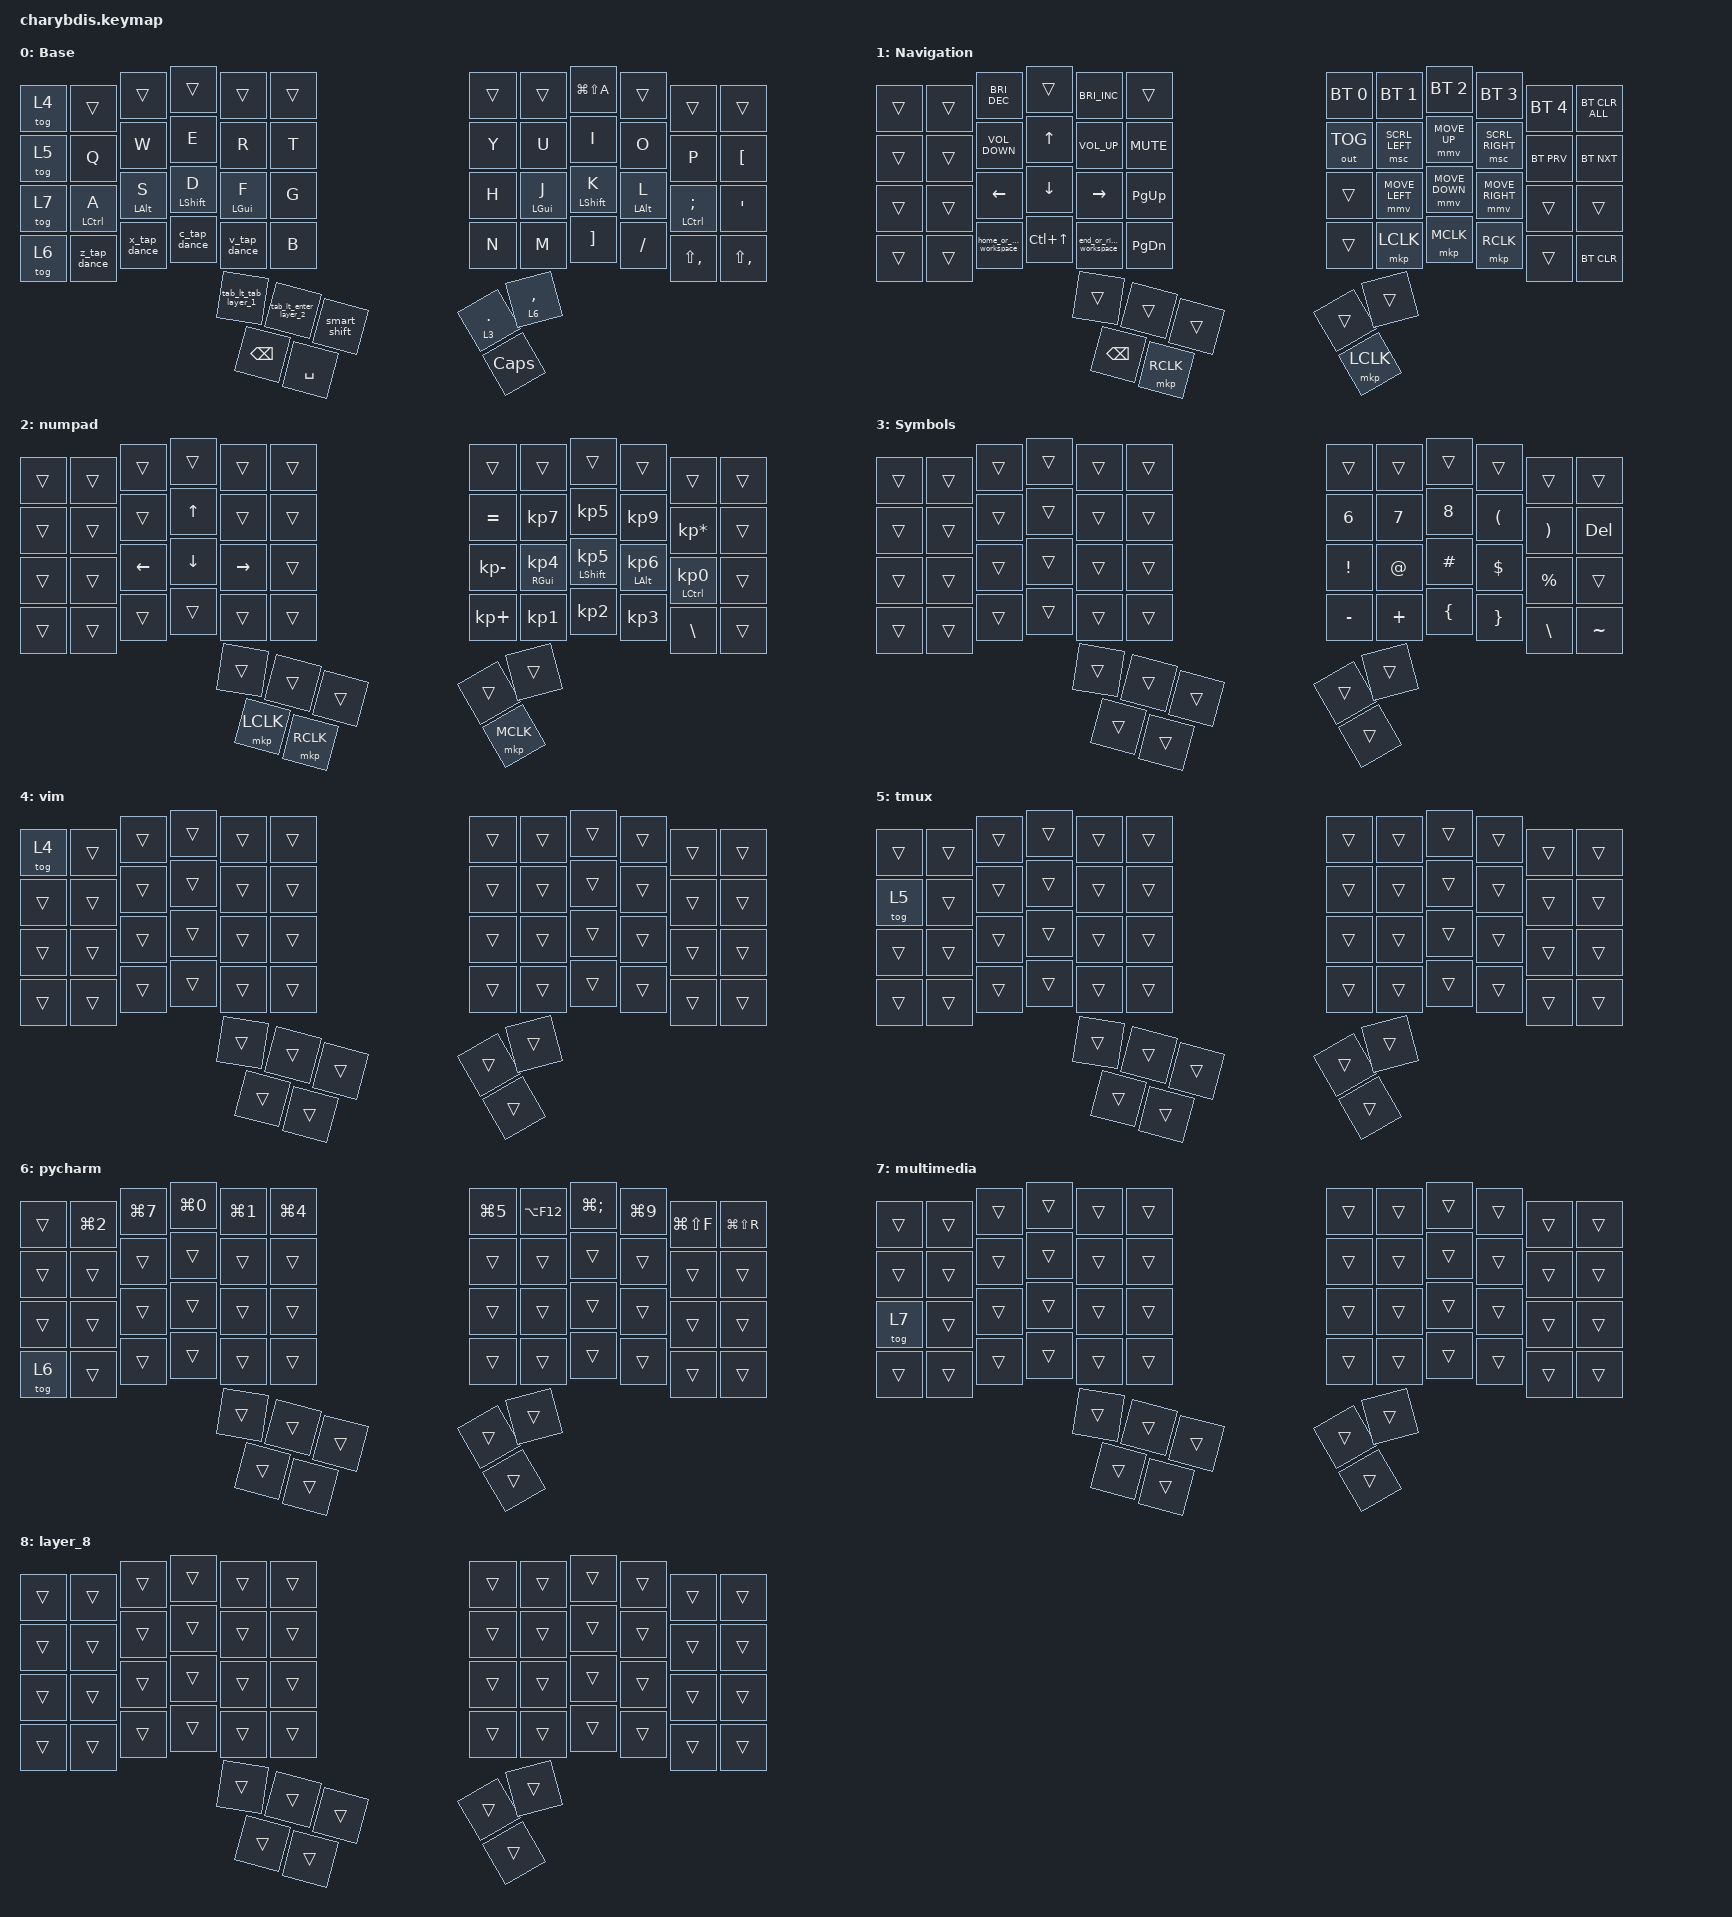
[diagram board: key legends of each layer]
#include <behaviors.dtsi>
#include <dt-bindings/zmk/bt.h>
#include <dt-bindings/zmk/keys.h>
#include <dt-bindings/zmk/outputs.h>
#include <dt-bindings/zmk/pointing.h>

#define BASE 0
#define MOVEMENT 1
#define NUMPAD 2
#define NUMBER 3
#define BUFFER 4
#define KEYS_L 0 1 2 3 4 10 11 12 13 14 20 21 22 23 24
#define KEYS_R 5 6 7 8 9 15 16 17 18 19 25 26 27 28 29
#define THUMBS 30 31 32 33 34 35

&sk {
    release-after-ms = <600>;
    quick-release;
};

&sl { ignore-modifiers; };

&mt { flavor = "tap-preferred"; };

&lt {
    flavor = "balanced";
    tapping-term-ms = <200>;
    quick-tap-ms = <175>;
};

&caps_word { /delete-property/ ignore-modifiers; };

/ {
    behaviors {
        hml: hml {
            compatible = "zmk,behavior-hold-tap";
            #binding-cells = <2>;
            flavor = "balanced";
            tapping-term-ms = <2000>;
            quick-tap-ms = <175>;
            require-prior-idle-ms = <250>;
            hold-trigger-key-positions = <KEYS_R THUMBS>;
            hold-trigger-on-release;
            bindings = <&kp>, <&kp>;
        };

        hmr: hmr {
            compatible = "zmk,behavior-hold-tap";
            #binding-cells = <2>;
            flavor = "balanced";
            tapping-term-ms = <200>;
            quick-tap-ms = <175>;
            require-prior-idle-ms = <250>;
            hold-trigger-key-positions = <KEYS_L THUMBS>;
            hold-trigger-on-release;
            bindings = <&kp>, <&kp>;
        };

        hml_s: hml_s {
            compatible = "zmk,behavior-hold-tap";
            #binding-cells = <2>;
            flavor = "balanced";
            tapping-term-ms = <2000>;
            quick-tap-ms = <175>;
            require-prior-idle-ms = <0>;
            hold-trigger-key-positions = <KEYS_R THUMBS>;
            hold-trigger-on-release;
            bindings = <&kp>, <&kp>;
        };

        hmr_s: hmr_s {
            compatible = "zmk,behavior-hold-tap";
            #binding-cells = <2>;
            flavor = "balanced";
            tapping-term-ms = <2000>;
            quick-tap-ms = <175>;
            require-prior-idle-ms = <0>;
            hold-trigger-key-positions = <KEYS_L THUMBS>;
            hold-trigger-on-release;
            bindings = <&kp>, <&kp>;
        };

        smart_shift: smart_shift {
            compatible = "zmk,behavior-mod-morph";
            #binding-cells = <0>;
            bindings = <&sk LSHIFT>, <&caps_word>;

            mods = <(MOD_LSFT)>;
        };

        z_tap_dance: z_tap_dance {
            compatible = "zmk,behavior-tap-dance";
            label = "Z_TAP_DANCE";
            #binding-cells = <0>;
            bindings = <&kp Z>, <&kp LG(Z)>;
        };

        x_tap_dance: x_tap_dance {
            compatible = "zmk,behavior-tap-dance";
            label = "X_TAP_DANCE";
            #binding-cells = <0>;
            bindings = <&kp X>, <&kp LG(X)>;
        };

        c_tap_dance: c_tap_dance {
            compatible = "zmk,behavior-tap-dance";
            label = "C_TAP_DANCE";
            #binding-cells = <0>;
            bindings = <&kp C>, <&kp LG(C)>;
        };

        v_tap_dance: v_tap_dance {
            compatible = "zmk,behavior-tap-dance";
            label = "V_TAP_DANCE";
            #binding-cells = <0>;
            bindings = <&kp V>, <&kp LG(V)>;
        };

        home_or_left_workspace: home_or_left_workspace {
            compatible = "zmk,behavior-tap-dance";
            label = "HOME_OR_LEFT_WORKSPACE";
            #binding-cells = <0>;
            bindings = <&kp HOME>, <&kp LC(LEFT)>;
        };

        end_or_right_workspace: end_or_right_workspace {
            compatible = "zmk,behavior-tap-dance";
            label = "END_OR_RIGHT_WORKSPACE";
            #binding-cells = <0>;
            bindings = <&kp END>, <&kp LC(RIGHT)>;
        };

        tab_lt_tab_layer_1: tab_lt_tab_layer_1 {
            compatible = "zmk,behavior-tap-dance";
            label = "TAB_LT_TAB_LAYER_1";
            #binding-cells = <0>;
            bindings = <&lt 1 TAB>, <&mkp LCLK>;
        };

        tab_lt_enter_layer_2: tab_lt_enter_layer_2 {
            compatible = "zmk,behavior-tap-dance";
            label = "TAB_LT_ENTER_LAYER_2";
            #binding-cells = <0>;
            bindings = <&lt 2 ENTER>, <&mkp RCLK>;
        };
    };

    combos {
        compatible = "zmk,combos";
        timeout-ms = <20>;
        require-prior-idle-ms = <250>;

        combo_reset_right {
            key-positions = <9 7>;
            bindings = <&bootloader>;
            require-prior-idle-ms = <2000>;
        };

        combo_normal {
            key-positions = <8 19>;
            bindings = <&to 0>;
        };

        combo_esc {
            key-positions = <16 17>;
            bindings = <&kp ESCAPE>;
        };

        combo_delete_line {
            key-positions = <27 49>;
            bindings = <&kp LG(BACKSPACE)>;
        };

        combo_open_round_bracket {
            bindings = <&kp N9>;
            key-positions = <15 16>;
        };

        combo_close_round_bracket {
            bindings = <&kp N0>;
            key-positions = <19 20>;
        };

        combo_open_square_bracket {
            bindings = <&kp LA(LEFT_BRACKET)>;
            key-positions = <14 15>;
        };

        combo_closed_square_bracket {
            bindings = <&kp LA(RIGHT_BRACKET)>;
            key-positions = <20 21>;
        };

        combo_open_curly_bracket {
            bindings = <&kp LS(LA(LEFT_BRACE))>;
            key-positions = <13 14>;
        };

        combo_closed_curly_bracket {
            bindings = <&kp LS(LA(RIGHT_BRACE))>;
            key-positions = <21 22>;
        };

        combo_quote {
            bindings = <&kp LS(GRAVE)>;
            key-positions = <40 41>;
        };

        combo_apostrophe {
            bindings = <&kp GRAVE>;
            key-positions = <42 43>;
        };

        combo_dot {
            bindings = <&kp KP_DOT>;
            key-positions = <31 32>;
            require-prior-idle-ms = <200>;
        };

        combo_comma {
            bindings = <&kp COMMA>;
            key-positions = <28 27>;
            require-prior-idle-ms = <200>;
        };

        combo_capslock {
            bindings = <&caps_word>;
            key-positions = <38 39 40>;
        };

        combo_question {
            bindings = <&kp N7>;
            key-positions = <31 20>;
        };

        combo_exclamation {
            bindings = <&kp NUMBER_1>;
            key-positions = <28 15>;
        };

        combo_shift_tab {
            bindings = <&kp LS(TAB)>;
            key-positions = <38 39>;
        };

        combo_page_up {
            bindings = <&kp PAGE_UP>;
            key-positions = <17 16 15>;
        };

        combo_page_down {
            bindings = <&kp PAGE_DOWN>;
            key-positions = <39 40 41>;
        };

        combo_reset_left {
            bindings = <&bootloader>;
            key-positions = <2 4>;
            require-prior-idle-ms = <2000>;
        };
    };

    chosen { zmk,physical-layout = &charybdis_6col_layout; };

    keymap {
        compatible = "zmk,keymap";

        base {
            label = "Base";
            display-name = "Base";
            bindings = <
&tog 4  &trans               &trans           &trans               &trans                 &trans          &trans         &trans           &kp LG(LS(A))      &trans           &trans                       &trans
&tog 5  &kp Q                &kp W            &kp E                &kp R                  &kp T           &kp Y          &kp U            &kp I              &kp O            &kp P                        &kp LEFT_BRACKET
&tog 7  &hmr LEFT_CONTROL A  &hmr LEFT_ALT S  &hmr LEFT_SHIFT D    &hmr LEFT_GUI F        &kp G           &kp H          &hmr LEFT_GUI J  &hmr LEFT_SHIFT K  &hmr LEFT_ALT L  &hmr LEFT_CONTROL SEMICOLON  &kp APOS
&tog 6  &z_tap_dance         &x_tap_dance     &c_tap_dance         &v_tap_dance           &kp B           &kp N          &kp M            &kp RIGHT_BRACKET  &kp SLASH        &kp LS(COMMA)                &kp LS(COMMA)
                                              &tab_lt_tab_layer_1  &tab_lt_enter_layer_2  &smart_shift    &kp BACKSPACE  &kp SPACE
                                                                   &lt 3 PERIOD           &lt 6 COMMA     &kp CAPSLOCK
            >;
        };

        navigation {
            label = "Movement";
            display-name = "Navigation";
            bindings = <
&trans  &trans  &kp C_BRIGHTNESS_DEC     &trans            &kp C_BRIGHTNESS_INC     &trans           &bt BT_SEL 0   &bt BT_SEL 1    &bt BT_SEL 2    &bt BT_SEL 3     &bt BT_SEL 4  &bt BT_CLR_ALL
&trans  &trans  &kp C_VOLUME_DOWN        &kp UP_ARROW      &kp C_VOLUME_UP          &kp K_MUTE       &out OUT_TOG   &msc SCRL_LEFT  &mmv MOVE_UP    &msc SCRL_RIGHT  &bt BT_PRV    &bt BT_NXT
&trans  &trans  &kp LEFT_ARROW           &kp DOWN_ARROW    &kp RIGHT_ARROW          &kp PAGE_UP      &trans         &mmv MOVE_LEFT  &mmv MOVE_DOWN  &mmv MOVE_RIGHT  &trans        &trans
&trans  &trans  &home_or_left_workspace  &kp LC(UP_ARROW)  &end_or_right_workspace  &kp PAGE_DOWN    &trans         &mkp LCLK       &mkp MCLK       &mkp RCLK        &trans        &bt BT_CLR
                                         &trans            &trans                   &trans           &kp BACKSPACE  &mkp RCLK
                                                           &trans                   &trans           &mkp LCLK
            >;
        };

        Numpad {
            label = "Numpad";
            display-name = "numpad";
            bindings = <
&trans  &trans  &trans    &trans    &trans     &trans    &trans        &trans                 &trans                       &trans                     &trans                         &trans
&trans  &trans  &trans    &kp UP    &trans     &trans    &kp EQUAL     &kp KP_NUMBER_7        &kp KP_NUMBER_5              &kp KP_NUMBER_9            &kp KP_MULTIPLY                &trans
&trans  &trans  &kp LEFT  &kp DOWN  &kp RIGHT  &trans    &kp KP_MINUS  &hmr RGUI KP_NUMBER_4  &hmr LEFT_SHIFT KP_NUMBER_5  &hmr LEFT_ALT KP_NUMBER_6  &hmr LEFT_CONTROL KP_NUMBER_0  &trans
&trans  &trans  &trans    &trans    &trans     &trans    &kp KP_PLUS   &kp KP_NUMBER_1        &kp KP_NUMBER_2              &kp KP_NUMBER_3            &kp BACKSLASH                  &trans
                          &trans    &trans     &trans    &mkp LCLK     &mkp RCLK
                                    &trans     &trans    &mkp MCLK
            >;
        };

        symbols {
            label = "Number";
            display-name = "Symbols";
            bindings = <
&trans  &trans  &trans  &trans  &trans  &trans    &trans        &trans       &trans    &trans      &trans         &trans
&trans  &trans  &trans  &trans  &trans  &trans    &kp NUMBER_6  &kp N7       &kp N8    &kp LPAR    &kp RPAR       &kp DEL
&trans  &trans  &trans  &trans  &trans  &trans    &kp EXCL      &kp AT_SIGN  &kp HASH  &kp DOLLAR  &kp PERCENT    &trans
&trans  &trans  &trans  &trans  &trans  &trans    &kp MINUS     &kp PLUS     &kp LBRC  &kp RBRC    &kp BACKSLASH  &kp TILDE
                        &trans  &trans  &trans    &trans        &trans
                                &trans  &trans    &trans
            >;
        };

        vim {
            bindings = <
&tog 4  &trans  &trans  &trans  &trans  &trans    &trans  &trans  &trans  &trans  &trans  &trans
&trans  &trans  &trans  &trans  &trans  &trans    &trans  &trans  &trans  &trans  &trans  &trans
&trans  &trans  &trans  &trans  &trans  &trans    &trans  &trans  &trans  &trans  &trans  &trans
&trans  &trans  &trans  &trans  &trans  &trans    &trans  &trans  &trans  &trans  &trans  &trans
                        &trans  &trans  &trans    &trans  &trans
                                &trans  &trans    &trans
            >;
        };

        tmux {
            bindings = <
&trans  &trans  &trans  &trans  &trans  &trans    &trans  &trans  &trans  &trans  &trans  &trans
&tog 5  &trans  &trans  &trans  &trans  &trans    &trans  &trans  &trans  &trans  &trans  &trans
&trans  &trans  &trans  &trans  &trans  &trans    &trans  &trans  &trans  &trans  &trans  &trans
&trans  &trans  &trans  &trans  &trans  &trans    &trans  &trans  &trans  &trans  &trans  &trans
                        &trans  &trans  &trans    &trans  &trans
                                &trans  &trans    &trans
            >;
        };

        pycharm {
            bindings = <
&trans  &kp LG(NUMBER_2)  &kp LG(N7)  &kp LG(N0)  &kp LG(NUMBER_1)  &kp LG(NUMBER_4)    &kp LG(N5)  &kp LA(F12)  &kp LG(SEMICOLON)  &kp LG(N9)  &kp LG(LS(F))  &kp LG(LS(R))
&trans  &trans            &trans      &trans      &trans            &trans              &trans      &trans       &trans             &trans      &trans         &trans
&trans  &trans            &trans      &trans      &trans            &trans              &trans      &trans       &trans             &trans      &trans         &trans
&tog 6  &trans            &trans      &trans      &trans            &trans              &trans      &trans       &trans             &trans      &trans         &trans
                                      &trans      &trans            &trans              &trans      &trans
                                                  &trans            &trans              &trans
            >;
        };

        multimedia {
            bindings = <
&trans  &trans  &trans  &trans  &trans  &trans    &trans  &trans  &trans  &trans  &trans  &trans
&trans  &trans  &trans  &trans  &trans  &trans    &trans  &trans  &trans  &trans  &trans  &trans
&tog 7  &trans  &trans  &trans  &trans  &trans    &trans  &trans  &trans  &trans  &trans  &trans
&trans  &trans  &trans  &trans  &trans  &trans    &trans  &trans  &trans  &trans  &trans  &trans
                        &trans  &trans  &trans    &trans  &trans
                                &trans  &trans    &trans
            >;
        };

        layer_8 {
            bindings = <
&trans  &trans  &trans  &trans  &trans  &trans    &trans  &trans  &trans  &trans  &trans  &trans
&trans  &trans  &trans  &trans  &trans  &trans    &trans  &trans  &trans  &trans  &trans  &trans
&trans  &trans  &trans  &trans  &trans  &trans    &trans  &trans  &trans  &trans  &trans  &trans
&trans  &trans  &trans  &trans  &trans  &trans    &trans  &trans  &trans  &trans  &trans  &trans
                        &trans  &trans  &trans    &trans  &trans
                                &trans  &trans    &trans
            >;
        };
    };
};
